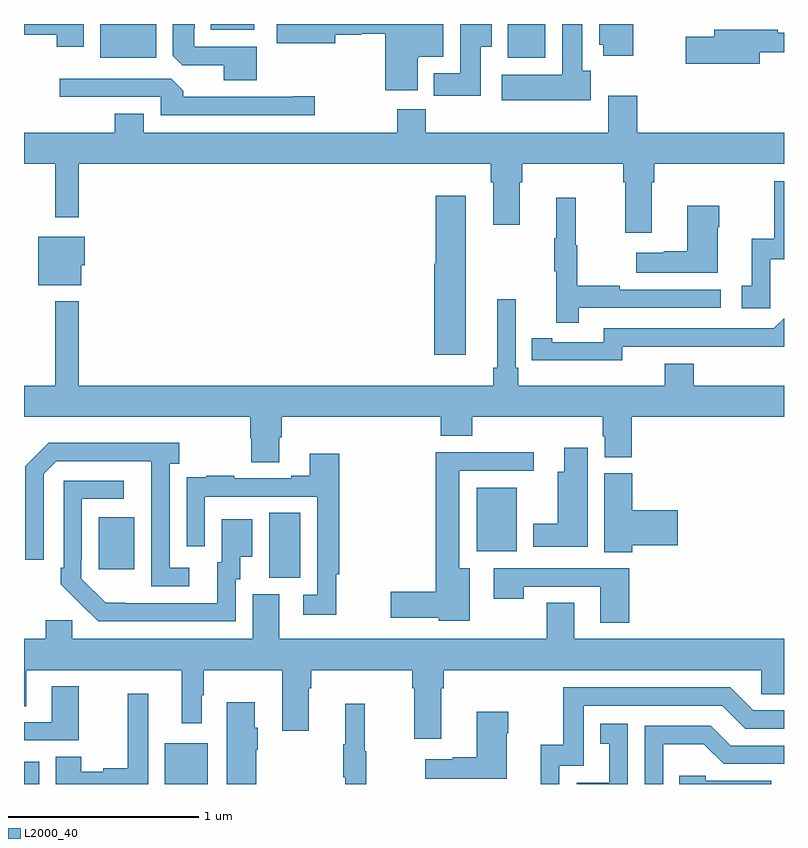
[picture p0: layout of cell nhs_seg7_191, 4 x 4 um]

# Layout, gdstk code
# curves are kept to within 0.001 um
import gdstk
lib = gdstk.Library(unit=1e-6, precision=1e-09)
def R(c, l, rs):  # rectangles x0, y0, x1, y1
    for r in rs: c.add(gdstk.rectangle(r[:2], r[2:], *l))
def P(c, l, *ps):  # polygons
    for p in ps: c.add(gdstk.Polygon(p, *l))
L2000_40 = (2000, 40)

nhs_seg7_191 = lib.new_cell('nhs_seg7_191')
R(nhs_seg7_191, L2000_40, [(125,1016,125.08,1016.116), (125.741,1016,125.968,1016.215), (126.29,1017.085,126.454,1017.428), (125.393,1017.129,125.581,1017.403), (127.382,1017.224,127.594,1017.559), (125.402,1019.822,125.695,1020), (127.547,1019.822,127.744,1020), (125.984,1019.969,126.211,1020)])
P(nhs_seg7_191, L2000_40, [(128.206,1020),(128.027,1020),(128.027,1019.892),(128.048,1019.892),(128.048,1019.832),(128.206,1019.832)],
  [(127.984,1019.754),(127.939,1019.754),(127.939,1020),(127.832,1020),(127.832,1019.734),(127.515,1019.734),(127.515,1019.6),(127.984,1019.6)],
  [(127.072,1019.822),(127.078,1019.822),(127.078,1019.828),(127.207,1019.828),(127.207,1020),(126.33,1020),(126.33,1019.9),(126.637,1019.9),(126.637,1019.944),(126.776,1019.944),(126.776,1019.948),(126.902,1019.948),(126.902,1019.652),(127.072,1019.652)],
  [(125.314,1020),(125,1020),(125,1019.944),(125.173,1019.944),(125.173,1019.88),(125.314,1019.88)],
  [(126.226,1019.88),(125.895,1019.88),(125.895,1019.977),(125.899,1019.977),(125.899,1020),(125.783,1020),(125.783,1019.833),(125.832,1019.784),(126.05,1019.784),(126.05,1019.705),(126.226,1019.705)],
  [(127.405,1019.881),(127.462,1019.881),(127.462,1020),(127.295,1020),(127.295,1019.74),(127.157,1019.74),(127.157,1019.622),(127.405,1019.622)],
  [(128.872,1019.851),(129,1019.851),(129,1019.954),(128.968,1019.954),(128.968,1019.969),(128.633,1019.969),(128.633,1019.933),(128.483,1019.933),(128.483,1019.791),(128.872,1019.791)],
  [(126.529,1019.621),(126.416,1019.621),(126.416,1019.616),(125.837,1019.616),(125.837,1019.65),(125.775,1019.712),(125.187,1019.712),(125.187,1019.616),(125.721,1019.616),(125.721,1019.52),(126.529,1019.52)],
  [(128.305,1019.168),(128.318,1019.168),(128.318,1019.264),(129,1019.264),(129,1019.428),(128.227,1019.428),(128.227,1019.623),(128.075,1019.623),(128.075,1019.428),(127.115,1019.428),(127.115,1019.552),(126.964,1019.552),(126.964,1019.428),(125.629,1019.428),(125.629,1019.527),(125.477,1019.527),(125.477,1019.428),(125,1019.428),(125,1019.264),(125.165,1019.264),(125.165,1018.983),(125.287,1018.983),(125.287,1019.264),(127.457,1019.264),(127.457,1019.168),(127.469,1019.168),(127.469,1018.944),(127.609,1018.944),(127.609,1019.168),(127.622,1019.168),(127.622,1019.264),(128.153,1019.264),(128.153,1019.168),(128.165,1019.168),(128.165,1018.902),(128.305,1018.902)],
  [(128.928,1018.761),(129,1018.761),(129,1019.172),(128.949,1019.172),(128.949,1018.87),(128.831,1018.87),(128.831,1018.623),(128.778,1018.623),(128.778,1018.503),(128.928,1018.503)],
  [(127.324,1019.095),(127.166,1019.095),(127.166,1018.737),(127.16,1018.737),(127.16,1018.26),(127.324,1018.26)],
  [(127.919,1018.506),(128.668,1018.506),(128.668,1018.602),(128.135,1018.602),(128.135,1018.622),(127.912,1018.622),(127.912,1018.836),(127.904,1018.836),(127.904,1019.086),(127.802,1019.086),(127.802,1018.873),(127.791,1018.873),(127.791,1018.699),(127.802,1018.699),(127.802,1018.428),(127.919,1018.428)],
  [(128.65,1018.931),(128.658,1018.931),(128.658,1019.044),(128.492,1019.044),(128.492,1018.805),(128.366,1018.805),(128.366,1018.795),(128.223,1018.795),(128.223,1018.691),(128.65,1018.691)],
  [(125.302,1018.731),(125.32,1018.731),(125.32,1018.879),(125.075,1018.879),(125.075,1018.625),(125.302,1018.625)],
  [(126.343,1017.826),(126.356,1017.826),(126.356,1017.932),(127.193,1017.932),(127.193,1017.833),(127.358,1017.833),(127.358,1017.932),(128.045,1017.932),(128.045,1017.831),(128.057,1017.831),(128.057,1017.721),(128.198,1017.721),(128.198,1017.932),(129,1017.932),(129,1018.096),(128.525,1018.096),(128.525,1018.213),(128.372,1018.213),(128.372,1018.096),(127.601,1018.096),(127.601,1018.192),(127.587,1018.192),(127.587,1018.552),(127.49,1018.552),(127.49,1018.192),(127.471,1018.192),(127.471,1018.096),(125.287,1018.096),(125.287,1018.54),(125.165,1018.54),(125.165,1018.096),(125,1018.096),(125,1017.932),(126.191,1017.932),(126.191,1017.819),(126.196,1017.819),(126.196,1017.694),(126.343,1017.694)],
  [(128.148,1018.302),(129,1018.301),(129,1018.452),(128.946,1018.398),(128.052,1018.398),(128.052,1018.326),(127.78,1018.326),(127.78,1018.346),(127.672,1018.346),(127.672,1018.23),(128.148,1018.229)],
  [(125.869,1017.138),(125.766,1017.138),(125.766,1017.686),(125.818,1017.686),(125.818,1017.796),(125.13,1017.796),(125.007,1017.673),(125.007,1017.18),(125.103,1017.18),(125.103,1017.633),(125.169,1017.699),(125.669,1017.699),(125.67,1017.042),(125.869,1017.042)],
  [(127.966,1017.769),(127.844,1017.769),(127.844,1017.643),(127.808,1017.643),(127.808,1017.37),(127.679,1017.37),(127.679,1017.248),(127.966,1017.248)],
  [(127.345,1017.136),(127.291,1017.136),(127.291,1017.648),(127.684,1017.648),(127.684,1017.746),(127.166,1017.746),(127.166,1017.011),(126.93,1017.011),(126.93,1016.876),(127.182,1016.876),(127.182,1016.858),(127.345,1016.858)],
  [(126.644,1017.104),(126.659,1017.104),(126.659,1017.739),(126.503,1017.739),(126.503,1017.622),(126.407,1017.622),(126.407,1017.609),(126.107,1017.609),(126.107,1017.622),(125.959,1017.622),(125.959,1017.615),(125.857,1017.615),(125.857,1017.506),(125.856,1017.506),(125.856,1017.252),(125.952,1017.252),(125.952,1017.513),(126.543,1017.513),(126.543,1016.997),(126.471,1016.997),(126.471,1016.892),(126.644,1016.892)],
  [(128.201,1017.257),(128.44,1017.257),(128.44,1017.44),(128.201,1017.44),(128.201,1017.636),(128.054,1017.636),(128.054,1017.22),(128.201,1017.22)],
  [(126.114,1017.078),(126.139,1017.078),(126.139,1017.197),(126.202,1017.197),(126.202,1017.394),(126.041,1017.394),(126.041,1017.168),(126.017,1017.168),(126.017,1016.952),(125.43,1016.953),(125.301,1017.081),(125.301,1017.181),(125.304,1017.181),(125.304,1017.501),(125.524,1017.501),(125.524,1017.597),(125.208,1017.597),(125.208,1017.139),(125.193,1017.139),(125.193,1017.051),(125.39,1016.856),(126.114,1016.856)],
  [(128.186,1017.135),(127.473,1017.135),(127.473,1016.976),(127.629,1016.976),(127.629,1017.039),(128.033,1017.039),(128.033,1016.85),(128.186,1016.85)],
  [(127.195,1016.504),(127.208,1016.504),(127.208,1016.6),(128.88,1016.6),(128.88,1016.473),(129,1016.473),(129,1016.764),(127.897,1016.764),(127.897,1016.954),(127.75,1016.954),(127.75,1016.764),(126.343,1016.764),(126.343,1017),(126.203,1017),(126.203,1016.764),(125.253,1016.764),(125.253,1016.862),(125.114,1016.862),(125.114,1016.764),(125,1016.764),(125,1016.41),(125.011,1016.41),(125.011,1016.6),(125.831,1016.6),(125.831,1016.319),(125.935,1016.319),(125.935,1016.468),(125.945,1016.468),(125.945,1016.6),(126.359,1016.6),(126.359,1016.28),(126.499,1016.28),(126.499,1016.504),(126.512,1016.504),(126.512,1016.6),(127.043,1016.6),(127.043,1016.504),(127.055,1016.504),(127.055,1016.238),(127.195,1016.238)],
  [(125.287,1016.515),(125.147,1016.515),(125.147,1016.325),(125,1016.325),(125,1016.229),(125.287,1016.229)],
  [(127.818,1016.097),(127.947,1016.097),(127.947,1016.412),(128.676,1016.412),(128.796,1016.292),(129,1016.292),(129,1016.388),(128.838,1016.388),(128.718,1016.508),(127.839,1016.508),(127.839,1016.206),(127.721,1016.206),(127.721,1016),(127.818,1016)],
  [(125.653,1016.476),(125.547,1016.476),(125.547,1016.084),(125.418,1016.084),(125.418,1016.065),(125.302,1016.065),(125.302,1016.144),(125.168,1016.144),(125.168,1016),(125.653,1016)],
  [(126.222,1016.181),(126.229,1016.181),(126.229,1016.295),(126.214,1016.295),(126.214,1016.431),(126.068,1016.431),(126.068,1016),(126.222,1016)],
  [(126.802,1016.172),(126.794,1016.172),(126.794,1016.422),(126.692,1016.422),(126.692,1016.209),(126.681,1016.209),(126.681,1016.035),(126.692,1016.035),(126.692,1016),(126.802,1016)],
  [(127.54,1016.267),(127.548,1016.267),(127.548,1016.38),(127.382,1016.38),(127.382,1016.141),(127.256,1016.141),(127.256,1016.131),(127.113,1016.131),(127.113,1016.027),(127.54,1016.027)],
  [(128.178,1016.317),(128.032,1016.317),(128.032,1016.211),(128.081,1016.211),(128.081,1016.007),(127.908,1016.007),(127.908,1016),(128.178,1016)],
  [(128.364,1016.21),(128.578,1016.21),(128.682,1016.106),(129,1016.106),(129,1016.202),(128.719,1016.202),(128.614,1016.307),(128.268,1016.307),(128.268,1016),(128.364,1016)],
  [(128.934,1016.016),(128.589,1016.016),(128.589,1016.043),(128.449,1016.043),(128.449,1016),(128.934,1016)])

lib.write_gds('nhs_seg7_191.gds')
